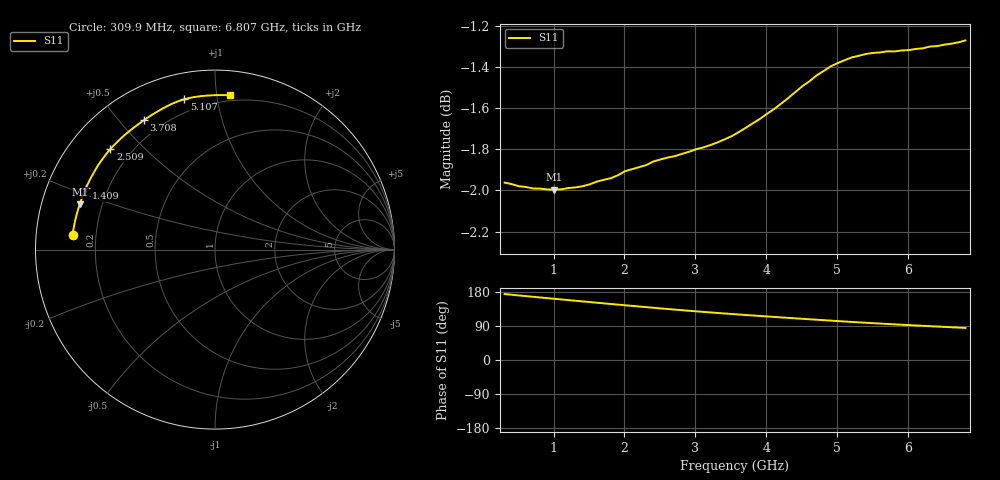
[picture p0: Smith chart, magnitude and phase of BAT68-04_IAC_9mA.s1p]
! Infineon Technologies  Discrete & RF Semiconductors
! BAT68-04
! IAC = 9 mA
! One-Port S-Parameters
# Hz  S  MA  R  50
!f  S11
!Hz  Mag  Ang
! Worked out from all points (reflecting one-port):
!   66 points, 309.9 MHz to 6.807 GHz, reference 50 ohm
!   lowest |S11| = -2.0 dB at 1.01 GHz (marker M1), VSWR 8.74, Z = 5.87 + j8.04 ohm
!   phase of S11 starts at 174 deg and turns -89 deg over the sweep
!   S11 on the Smith chart (normalised r, x): 309.9 MHz: 0.11, +0.05; 1.409 GHz: 0.12, +0.22; 2.509 GHz: 0.12, +0.40; 3.708 GHz: 0.13, +0.58; 5.107 GHz: 0.13, +0.81; 6.807 GHz: 0.16, +1.09
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3.0985e8  0.7978 174.0
6.097e8  0.7959 168.6
8.096e8  0.7952 165.0
1.0095e9  0.7947 161.5
1.2094e9  0.7954 158.1
1.4093e9  0.7962 154.6
1.6092e9  0.7983 151.2
2.009e9  0.803 144.4
2.30885e9  0.8057 139.5
2.50875e9  0.8082 136.2
2.70865e9  0.8097 133.0
2.8086e9  0.8107 131.5
2.90855e9  0.8117 129.9
3.10845e9  0.8137 127.0
3.30835e9  0.8159 124.1
3.6082e9  0.8206 120.1
3.70815e9  0.8227 118.8
4.008e9  0.8291 114.9
4.4078e9  0.8393 110.0
4.6077e9  0.8444 107.5
4.8076e9  0.8492 105.1
5.10745e9  0.8545 101.6
5.2074e9  0.8558 100.4
5.4073e9  0.8574 98.2
5.6072e9  0.8581 96.1
6.007e9  0.8592 92.1
6.30685e9  0.861 89.3
6.8066e9  0.8639 84.6
